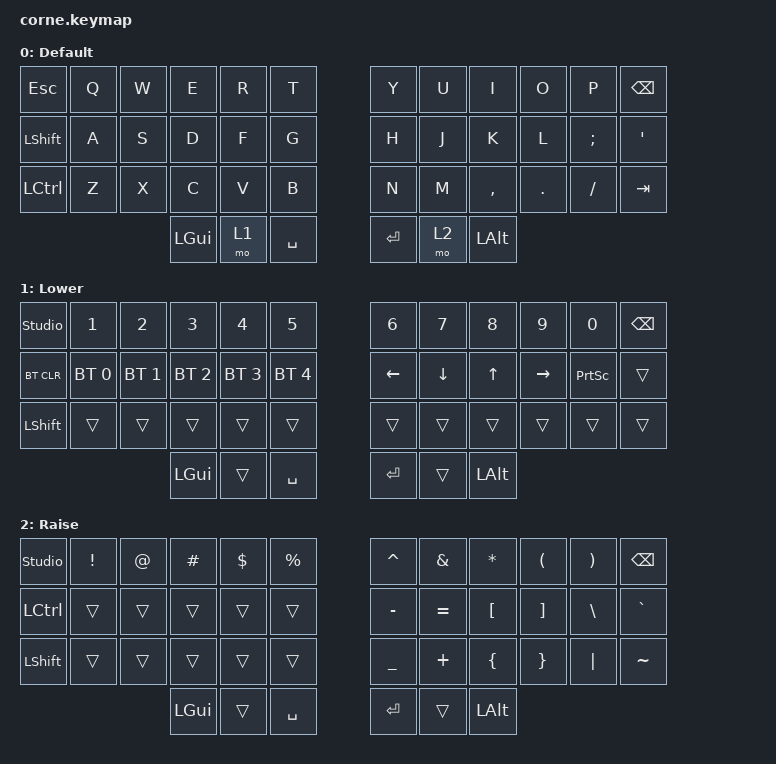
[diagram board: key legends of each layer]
#include <behaviors.dtsi>
#include <dt-bindings/zmk/keys.h>
#include <dt-bindings/zmk/bt.h>

/ {
    keymap {
        compatible = "zmk,keymap";

        default_layer {
            display-name = "Default";
// -----------------------------------------------------------------------------------------
// |  TAB |  Q  |  W  |  E  |  R  |  T  |   |  Y  |  U   |  I  |  O  |  P  | BSPC |
// | CTRL |  A  |  S  |  D  |  F  |  G  |   |  H  |  J   |  K  |  L  |  ;  |  '   |
// | SHFT |  Z  |  X  |  C  |  V  |  B  |   |  N  |  M   |  ,  |  .  |  /  | ESC  |
//                    | GUI | LWR | SPC |   | ENT | RSE  | ALT |
            bindings = <
   &kp ESC   &kp Q &kp W &kp E &kp R &kp T   &kp Y &kp U  &kp I     &kp O   &kp P    &kp BSPC
   &kp LSHFT &kp A &kp S &kp D &kp F &kp G   &kp H &kp J  &kp K     &kp L   &kp SEMI &kp SQT
   &kp LCTRL &kp Z &kp X &kp C &kp V &kp B   &kp N &kp M  &kp COMMA &kp DOT &kp FSLH &kp TAB
                  &kp LGUI &mo 1 &kp SPACE   &kp RET &mo 2 &kp LALT
            >;
        };

        lower_layer {
            display-name = "Lower";
// -----------------------------------------------------------------------------------------
// |UNLOCK|  1  |  2  |  3  |  4  |  5  |   |  6  |  7  |  8  |  9  |  0  | BSPC |
// | BTCLR| BT1 | BT2 | BT3 | BT4 | BT5 |   | LFT | DWN |  UP | RGT |     |      |
// | SHFT |     |     |     |     |     |   |     |     |     |     |     |      |
//                    | GUI |     | SPC |   | ENT |     | ALT |
            bindings = <
   &studio_unlock &kp N1       &kp N2       &kp N3       &kp N4       &kp N5         &kp N6   &kp N7   &kp N8 &kp N9    &kp N0 &kp BSPC
   &bt BT_CLR     &bt BT_SEL 0 &bt BT_SEL 1 &bt BT_SEL 2 &bt BT_SEL 3 &bt BT_SEL 4   &kp LEFT &kp DOWN &kp UP &kp RIGHT &kp PSCRN &trans
   &kp LSHFT      &trans       &trans       &trans       &trans       &trans         &trans   &trans   &trans &trans    &trans &trans
                                        &kp LGUI     &trans       &kp SPACE      &kp RET  &trans   &kp LALT
            >;
        };

        raise_layer {
            display-name = "Raise";
// -----------------------------------------------------------------------------------------
// |UNLOCK|  !  |  @  |  #  |  $  |  %  |   |  ^  |  &  |  *  |  (  |  )  | BSPC |
// | CTRL |     |     |     |     |     |   |  -  |  =  |  [  |  ]  |  \  |  `   |
// | SHFT |     |     |     |     |     |   |  _  |  +  |  {  |  }  | "|" |  ~   |
//                    | GUI |     | SPC |   | ENT |     | ALT |
            bindings = <
   &studio_unlock &kp EXCL &kp AT &kp HASH &kp DLLR &kp PRCNT   &kp CARET &kp AMPS  &kp ASTRK &kp LPAR &kp RPAR &kp BSPC
   &kp LCTRL      &trans   &trans &trans   &trans   &trans      &kp MINUS &kp EQUAL &kp LBKT  &kp RBKT &kp BSLH &kp GRAVE
   &kp LSHFT      &trans   &trans &trans   &trans   &trans      &kp UNDER &kp PLUS  &kp LBRC  &kp RBRC &kp PIPE &kp TILDE
                                  &kp LGUI &trans   &kp SPACE   &kp RET   &trans    &kp LALT
            >;
        };

        extra_1 { status = "reserved"; };
        extra_2 { status = "reserved"; };
        extra_3 { status = "reserved"; };
        extra_4 { status = "reserved"; };
        extra_5 { status = "reserved"; };
    };
};
